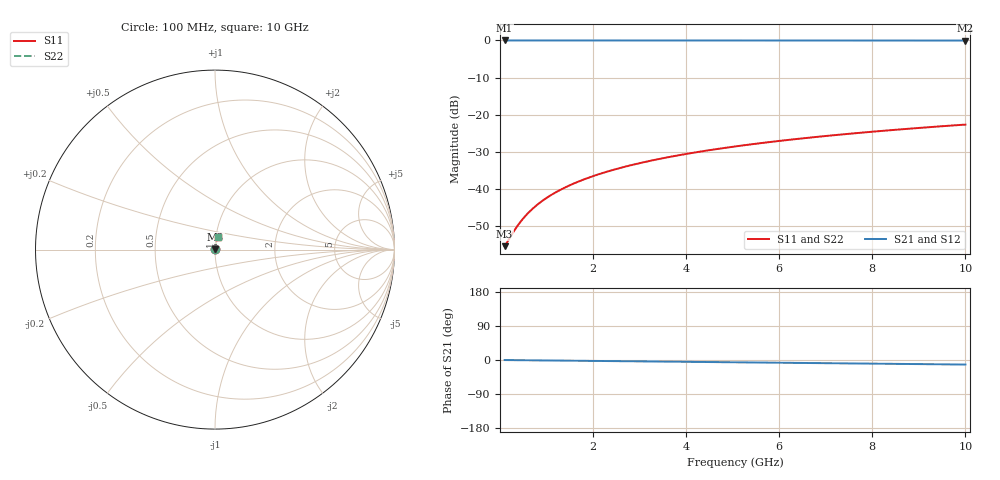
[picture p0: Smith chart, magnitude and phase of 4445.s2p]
# Hz S RI R 50.00
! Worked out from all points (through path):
!   100 points, 100 MHz to 10 GHz, reference 50 ohm
!   highest |S21| = -0.01 dB at 100 MHz (marker M1); lowest = 0.0 dB at 10 GHz (marker M2)
!   group delay of S21, straight-line fit = 3.34 ps
!   lowest |S11| = -55.4 dB at 100 MHz (marker M3), VSWR 1.00, Z = 50.2 + j0.0738 ohm
!   |S11| at or under -10 dB: start of sweep to end of sweep
!   |S22| runs from -55.4 to -22.7 dB; largest |S21 - S12| = 0
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1e8  0.00152 0.000735  0.9985 -0.00209  0.9985 -0.00209  0.00152 0.000735
3e8  0.00155 0.00221  0.9984 -0.00626  0.9984 -0.00626  0.00155 0.00221
4e8  0.00157 0.00294  0.9984 -0.00834  0.9984 -0.00834  0.00157 0.00294
5e8  0.00159 0.00368  0.9984 -0.0104  0.9984 -0.0104  0.00159 0.00368
6e8  0.00161 0.00441  0.9983 -0.0125  0.9983 -0.0125  0.00161 0.00441
7e8  0.00163 0.00515  0.9983 -0.0146  0.9983 -0.0146  0.00163 0.00515
8e8  0.00166 0.00588  0.9983 -0.0167  0.9983 -0.0167  0.00166 0.00588
1e9  0.00172 0.00735  0.9982 -0.0209  0.9982 -0.0209  0.00172 0.00735
1.2e9  0.00179 0.00882  0.9981 -0.025  0.9981 -0.025  0.00179 0.00882
1.5e9  0.00192 0.011  0.9979 -0.0313  0.9979 -0.0313  0.00192 0.011
1.8e9  0.00208 0.0132  0.9976 -0.0375  0.9976 -0.0375  0.00208 0.0132
2.1e9  0.00227 0.0154  0.9973 -0.0438  0.9973 -0.0438  0.00227 0.0154
2.5e9  0.00255 0.0183  0.9968 -0.0521  0.9968 -0.0521  0.00255 0.0183
2.9e9  0.00289 0.0213  0.9963 -0.0605  0.9963 -0.0605  0.00289 0.0213
3.4e9  0.00338 0.0249  0.9955 -0.0709  0.9955 -0.0709  0.00338 0.0249
4.2e9  0.00432 0.0307  0.994 -0.0875  0.994 -0.0875  0.00432 0.0307
5.1e9  0.00561 0.0372  0.9919 -0.1062  0.9919 -0.1062  0.00561 0.0372
5.9e9  0.00697 0.0429  0.9898 -0.1228  0.9898 -0.1228  0.00697 0.0429
6.7e9  0.00851 0.0486  0.9873 -0.1393  0.9873 -0.1393  0.00851 0.0486
7.5e9  0.0102 0.0543  0.9845 -0.1559  0.9845 -0.1559  0.0102 0.0543
8.4e9  0.0124 0.0605  0.981 -0.1744  0.981 -0.1744  0.0124 0.0605
1e10  0.0169 0.0715  0.9737 -0.2071  0.9737 -0.2071  0.0169 0.0715
